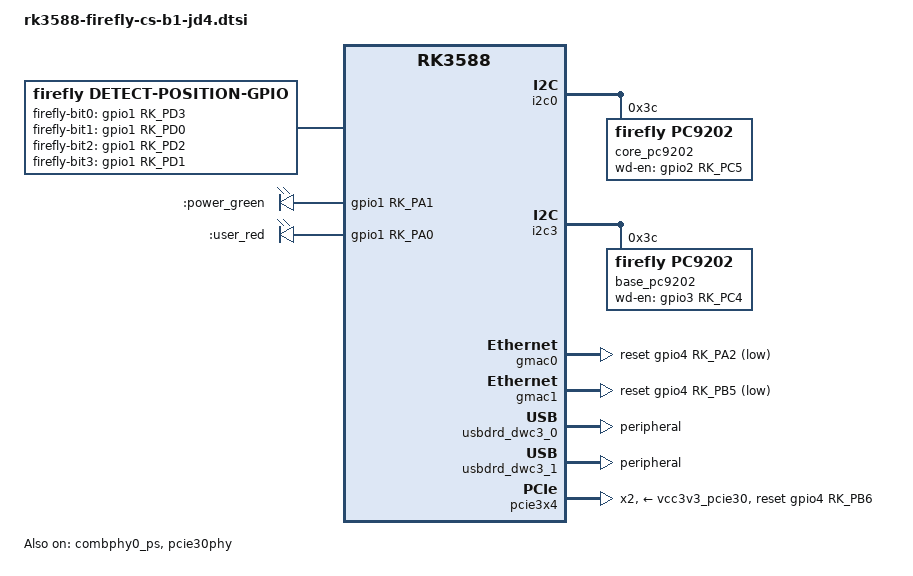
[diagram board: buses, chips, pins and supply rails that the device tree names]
// SPDX-License-Identifier: (GPL-2.0+ OR MIT)
/*
 * Copyright (c) 2021 Rockchip Electronics Co., Ltd.
 *
 */

 #define rk3588
 #include "rk3588-firefly-port-aio-3588jd4.dtsi"
 #include "rk3588-diff-aio-3588jd4.dtsi"



 / {
	position: position {
	        status = "okay";
	        compatible = "firefly,detect-position-gpio";
	        firefly-used-num = <4>;
	        firefly-bit0-gpio = <&gpio1 RK_PD3 GPIO_ACTIVE_HIGH>;
	        firefly-bit1-gpio = <&gpio1 RK_PD0 GPIO_ACTIVE_HIGH>;
	        firefly-bit2-gpio = <&gpio1 RK_PD2 GPIO_ACTIVE_HIGH>;
	        firefly-bit3-gpio = <&gpio1 RK_PD1 GPIO_ACTIVE_HIGH>;
	};
/* led */
	firefly_leds: leds {
		compatible = "gpio-leds";
		pinctrl-names = "default";
		pinctrl-0 =<&led_power &led_user>;
		status = "okay";
		power_led: power {
			label = ":power_green"; //green led
                        linux,default-trigger = "ir-power-click";
			gpios = <&gpio1 RK_PA1 GPIO_ACTIVE_HIGH>;//L led
			default-state = "on";
		};

		user_led: user {
			label = ":user_red"; //red led
                        linux,default-trigger = "ir-user-click";
			gpios = <&gpio1 RK_PA0 GPIO_ACTIVE_HIGH>; //R led
			default-state = "off";
		};
	};
};

&fiq_debugger {
	rockchip,baudrate = <115200>;  /* Only 115200 and 1500000 */
};

&i2c0 {
	pinctrl-0 = <&i2c0m2_xfer>;
	status = "okay";
	core_pc9202: pc9202@3c {
		status = "okay";
		compatible = "firefly,pc9202";
		reg = <0x3c>;
		pinctrl-names = "default";
		pinctrl-0 = <&core_pc9202_en_pin>;
		wd-en-gpio = <&gpio2 RK_PC5 GPIO_ACTIVE_HIGH>;
		driver-names = "wdt_core";
	};
};

&i2c3 {
	pinctrl-0 = <&i2c3m2_xfer>;
	status = "okay";
	base_pc9202: pc9202@3c {
		status = "okay";
		compatible = "firefly,pc9202";
		reg = <0x3c>;
		pinctrl-names = "default";
		pinctrl-0 = <&base_pc9202_en_pin>;
		wd-en-gpio = <&gpio3 RK_PC4 GPIO_ACTIVE_HIGH>;
	};
};

/* gamc0 */
&gmac0 {
	snps,reset-gpio = <&gpio4 RK_PA2 GPIO_ACTIVE_LOW>;
	//tx_delay = <0x35>;
	status = "okay";
};

&gmac0_tx_bus2{
    rockchip,pins =
    /* gmac0_txd0 */
    <2 RK_PB6 1 &pcfg_pull_up_drv_level_6>,
    /* gmac0_txd1 */
    <2 RK_PB7 1 &pcfg_pull_up_drv_level_6>,
    /* gmac0_txen */
    <2 RK_PC0 1 &pcfg_pull_none>;
};

&gmac0_rgmii_bus{
	rockchip,pins =
	/* gmac0_rxd2 */
	<2 RK_PA6 1 &pcfg_pull_none>,
	/* gmac0_rxd3 */
	<2 RK_PA7 1 &pcfg_pull_none>,
	/* gmac0_txd2 */
	<2 RK_PB1 1 &pcfg_pull_up_drv_level_6>,
	/* gmac0_txd3 */
	<2 RK_PB2 1 &pcfg_pull_up_drv_level_6>;
};

/* gmac1 */
&gmac1 {
	snps,reset-gpio = <&gpio4 RK_PB5 GPIO_ACTIVE_LOW>;
	tx_delay = <0x45>;
	status = "okay";
};

&gmac1_tx_bus2{
	rockchip,pins =
	/* gmac1_txd0 */
	<3 RK_PB3 1 &pcfg_pull_up_drv_level_6>,
    /* gmac1_txd1 */
	<3 RK_PB4 1 &pcfg_pull_up_drv_level_6>,
	/* gmac1_txen */
	<3 RK_PB5 1 &pcfg_pull_none>;
};

&gmac1_rgmii_bus{
	rockchip,pins =
	/* gmac1_rxd2 */
	<3 RK_PA2 1 &pcfg_pull_none>,
	/* gmac1_rxd3 */
	<3 RK_PA3 1 &pcfg_pull_none>,
	/* gmac1_txd2 */
	<3 RK_PA0 1 &pcfg_pull_up_drv_level_6>,
	/* gmac1_txd3 */
	<3 RK_PA1 1 &pcfg_pull_up_drv_level_6>;
};


//down
&usbdrd_dwc3_0{
	//dr_mode = "host";
	dr_mode = "peripheral";
	status = "okay";
};

//down
&usbdrd_dwc3_1{
	dr_mode = "peripheral";
	status = "okay";
};

&combphy0_ps{
	status = "okay";
};


/* pcie3.0 x 4 slot */
&pcie30phy {
        status = "okay";
};

&pcie3x4 {
        num-lanes = <2>;
        reset-gpios = <&gpio4 RK_PB6 GPIO_ACTIVE_HIGH>;
        vpcie3v3-supply = <&vcc3v3_pcie30>;
        status = "okay";
};

&vcc3v3_pcie30{
        gpios = <&gpio0 RK_PD3 GPIO_ACTIVE_HIGH>;
        startup-delay-us = <5000>;
        status = "okay";
};

/* pinctrl */
&pinctrl {

	leds {
		led_power: led-power {
			/* led_power */
			rockchip,pins = <1 RK_PA1 RK_FUNC_GPIO &pcfg_pull_none>;
		};

		led_user: led-user {
			/* led_user */
			rockchip,pins = <1 RK_PA0 RK_FUNC_GPIO &pcfg_pull_none>;
		};
	};

	wdt-en {
		core_pc9202_en_pin: core-pc9202-en-pin {
			rockchip,pins = <2 RK_PC5 RK_FUNC_GPIO &pcfg_pull_none>;
		};
		base_pc9202_en_pin: base-pc9202-en-pin {
			rockchip,pins = <3 RK_PC4 RK_FUNC_GPIO &pcfg_pull_none>;
		};
        };

	headphone {
		hp_det: hp-det {
			rockchip,pins = <2 RK_PC3 RK_FUNC_GPIO &pcfg_pull_none>;
		};
	};

	usb-typec {
		usbc0_int: usbc0-int {
			rockchip,pins = <0 RK_PD3 RK_FUNC_GPIO &pcfg_pull_none>;
		};
	};

	hdmirx {
		hdmirx_det: hdmirx-det {
			rockchip,pins = <1 RK_PD5 RK_FUNC_GPIO &pcfg_pull_none>;
		};
	};

	wireless-bluetooth {
		uart6_gpios: uart6-gpios {
			rockchip,pins = <1 RK_PA2 RK_FUNC_GPIO &pcfg_pull_none>;
		};

		bt_reset_gpio: bt-reset-gpio {
			rockchip,pins = <0 RK_PC6 RK_FUNC_GPIO &pcfg_pull_none>;
		};

		bt_wake_gpio: bt-wake-gpio {
			rockchip,pins = <0 RK_PC5 RK_FUNC_GPIO &pcfg_pull_none>;
		};

		bt_irq_gpio: bt-irq-gpio {
			rockchip,pins = <0 RK_PA0 RK_FUNC_GPIO &pcfg_pull_none>;
		};
	};

	wireless-wlan {
		wifi_host_wake_irq: wifi-host-wake-irq {
			rockchip,pins = <0 RK_PB2 RK_FUNC_GPIO &pcfg_pull_none>;
		};

		wifi_poweren_gpio: wifi-poweren-gpio {
			rockchip,pins = <0 RK_PC4 RK_FUNC_GPIO &pcfg_pull_none>;
		};
	};

	sata {
		sata_reset:sata-reset{
			rockchip,pins = <4 RK_PC1 RK_FUNC_GPIO &pcfg_pull_none>;
		};
	};

};
